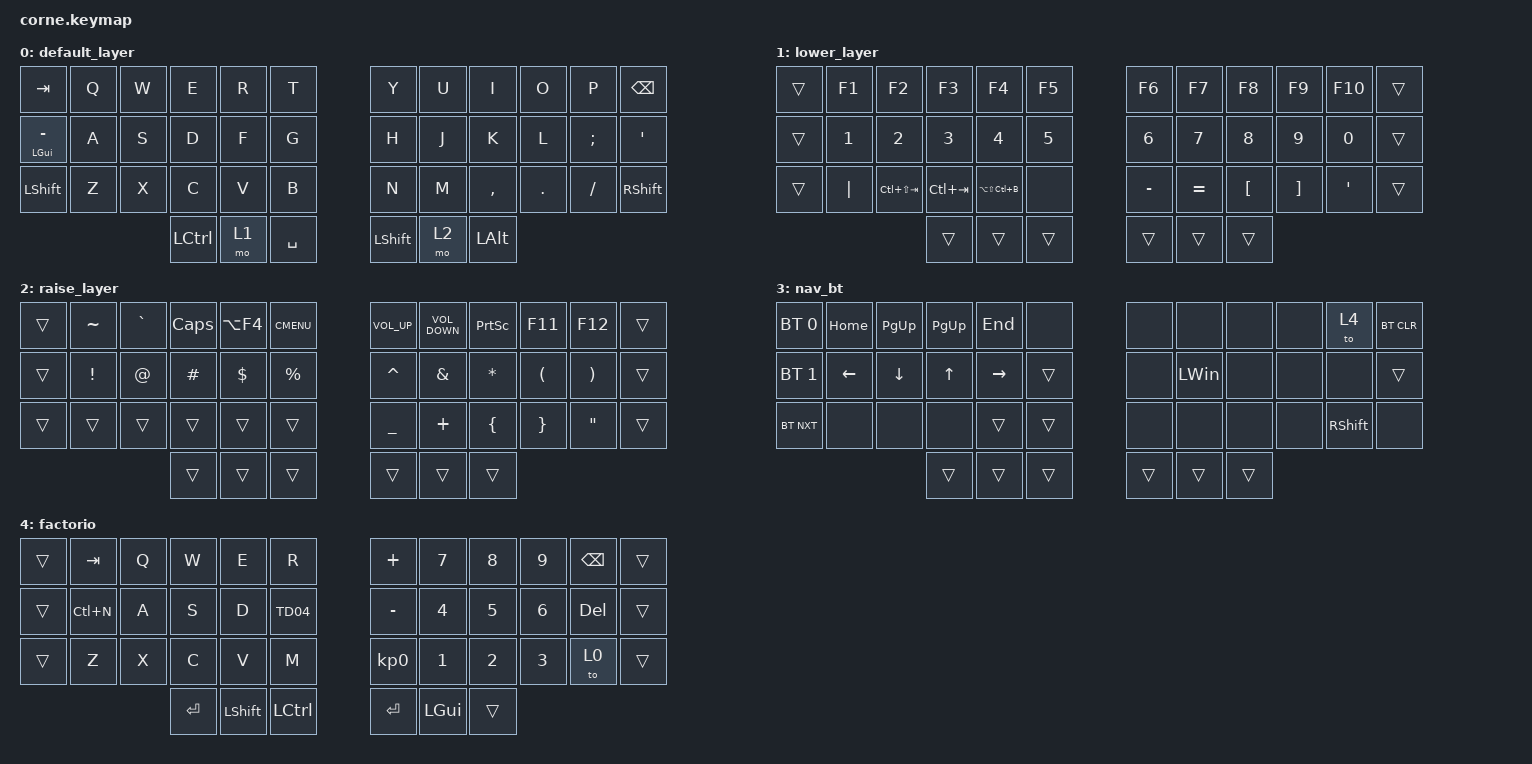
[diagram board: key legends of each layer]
/*
 * Copyright (c) 2020 The ZMK Contributors
 *
 * SPDX-License-Identifier: MIT
 */

#include <behaviors.dtsi>
#include <dt-bindings/zmk/bt.h>
#include <dt-bindings/zmk/keys.h>

/ {
    macros {
        shut_it_down: shut_it_down {
            compatible = "zmk,behavior-macro";
            #binding-cells = <0>;
            bindings =
                <&macro_press>,
                <&kp LEFT_WIN>,
                <&macro_press>,
                <&kp D &kp L>,
                <&macro_release>;

            label = "SHUT_IT_DOWN";
        };
    };

    behaviors {
        TD01: TD01 {
            compatible = "zmk,behavior-tap-dance";
            label = "TD01";
            #binding-cells = <0>;
            bindings = <&mt LALT ESCAPE>, <&kp LMETA>;
        };

        TD02: TD02 {
            compatible = "zmk,behavior-tap-dance";
            label = "TD02";
            #binding-cells = <0>;
            bindings = <&lt 3 BACKSPACE>, <&kp BACKSPACE>;
        };

        TD04: TD04 {
            compatible = "zmk,behavior-tap-dance";
            label = "TD04";
            #binding-cells = <0>;
            bindings = <&mt F F>, <&kp G>;
        };
    };

    combos {
        compatible = "zmk,combos";

        Tab {
            bindings = <&kp TAB>;
            key-positions = <14 15>;
        };

        Esc {
            bindings = <&kp ESCAPE>;
            key-positions = <2 3>;
        };

        LWin {
            bindings = <&kp LEFT_WIN>;
            key-positions = <26 27>;
        };

        Bkspc {
            bindings = <&kp BACKSPACE>;
            key-positions = <21 20>;
        };

        Delete {
            bindings = <&kp DELETE>;
            key-positions = <8 9>;
        };

        Enter {
            bindings = <&kp ENTER>;
            key-positions = <32 33>;
        };

        EpicChartSearch {
            bindings = <&kp LC(SPACE)>;
            key-positions = <1 4>;
        };
    };

    keymap {
        compatible = "zmk,keymap";

        default_layer {
            // -----------------------------------------------------------------------------------------
            // |  TAB |  Q  |  W  |  E  |  R  |  T  |   |  Y  |  U   |  I  |  O  |  P  | BKSP |
            // | W/Mi |  A  |  S  |  D  |  F  |  G  |   |  H  |  J   |  K  |  L  |  ;  |  '   |
            // | SHFT |  Z  |  X  |  C  |  V  |  B  |   |  N  |  M   |  ,  |  .  |  /  | ESC  |
            //                    | GUI | LWR | SPC |   | ENT | RSE  | ALT |

            bindings = <
&kp TAB         &kp Q  &kp W  &kp E             &kp R  &kp T        &kp Y           &kp U  &kp I         &kp O    &kp P     &kp BSPC
&mt LGUI MINUS  &kp A  &kp S  &kp D             &kp F  &kp G        &kp H           &kp J  &kp K         &kp L    &kp SEMI  &kp SQT
&kp LSHFT       &kp Z  &kp X  &kp C             &kp V  &kp B        &kp N           &kp M  &kp COMMA     &kp DOT  &kp FSLH  &kp RSHIFT
                              &kp LEFT_CONTROL  &mo 1  &kp SPACE    &kp LEFT_SHIFT  &mo 2  &kp LEFT_ALT
            >;
        };

        lower_layer {
            // -----------------------------------------------------------------------------------------
            // |  TAB |  1  |  2  |  3  |  4  |  5  |   |  6  |  7  |  8  |  9  |  0  | BKSP |
            // | BTCLR| BT1 | BT2 | BT3 | BT4 | BT5 |   | LFT | DWN |  UP | RGT |     |      |
            // | SHFT |     |     |     |     |     |   |     |     |     |     |     |      |
            //                    | GUI |     | SPC |   | ENT |     | ALT |

            bindings = <
&trans  &kp F1        &kp F2           &kp F3        &kp F4             &kp F5    &kp F6        &kp F7     &kp F8            &kp F9             &kp F10       &trans
&trans  &kp NUMBER_1  &kp NUMBER_2     &kp NUMBER_3  &kp NUMBER_4       &kp N5    &kp NUMBER_6  &kp N7     &kp NUMBER_8      &kp NUMBER_9       &kp NUMBER_0  &trans
&trans  &kp PIPE      &kp LC(LS(TAB))  &kp LC(TAB)   &kp LA(LS(LC(B)))  &none     &kp MINUS     &kp EQUAL  &kp LEFT_BRACKET  &kp RIGHT_BRACKET  &kp APOS      &trans
                                       &trans        &trans             &trans    &trans        &trans     &trans
            >;
        };

        raise_layer {
            // -----------------------------------------------------------------------------------------
            // |  TAB |  !  |  @  |  #  |  $  |  %  |   |  ^  |  &  |  *  |  (  |  )  | BKSP |
            // | CTRL |     |     |     |     |     |   |  -  |  =  |  [  |  ]  |  \  |  `   |
            // | SHFT |     |     |     |     |     |   |  _  |  +  |  {  |  }  | "|" |  ~   |
            //                    | GUI |     | SPC |   | ENT |     | ALT |

            bindings = <
&trans  &kp TILDE  &kp GRAVE  &kp CAPS  &kp LA(F4)  &kp K_CMENU    &kp C_VOLUME_UP  &kp C_VOLUME_DOWN  &kp PRINTSCREEN  &kp F11               &kp F12                &trans
&trans  &kp EXCL   &kp AT     &kp HASH  &kp DOLLAR  &kp PERCENT    &kp CARET        &kp AMPERSAND      &kp ASTERISK     &kp LEFT_PARENTHESIS  &kp RIGHT_PARENTHESIS  &trans
&trans  &trans     &trans     &trans    &trans      &trans         &kp UNDER        &kp PLUS           &kp LEFT_BRACE   &kp RIGHT_BRACE       &kp DOUBLE_QUOTES      &trans
                              &trans    &trans      &trans         &trans           &trans             &trans
            >;
        };

        nav_bt {
            bindings = <
&bt BT_SEL 0  &kp HOME        &kp PAGE_UP     &kp PG_UP  &kp END          &none     &none   &none         &none   &none  &to 4            &bt BT_CLR
&bt BT_SEL 1  &kp LEFT_ARROW  &kp DOWN_ARROW  &kp UP     &kp RIGHT_ARROW  &trans    &none   &kp LEFT_WIN  &none   &none  &none            &trans
&bt BT_NXT    &none           &none           &none      &trans           &trans    &none   &none         &none   &none  &kp RIGHT_SHIFT  &none
                                              &trans     &trans           &trans    &trans  &trans        &trans
            >;
        };

        factorio {
            bindings = <
&trans  &kp TAB    &kp Q  &kp W      &kp E      &kp R        &kp PLUS         &kp N7    &kp N8  &kp N9  &kp BSPC    &trans
&trans  &kp LC(N)  &kp A  &kp S      &kp D      &TD04        &kp MINUS        &kp N4    &kp N5  &kp N6  &kp DELETE  &trans
&trans  &kp Z      &kp X  &kp C      &kp V      &kp M        &kp KP_NUMBER_0  &kp N1    &kp N2  &kp N3  &to 0       &trans
                          &kp ENTER  &kp LSHFT  &kp LCTRL    &kp ENTER        &kp LGUI  &trans
            >;
        };
    };

    conditional_layers {
        compatible = "zmk,conditional-layers";

        Tri {
            if-layers = <1 2>;
            then-layer = <3>;
        };
    };
};
